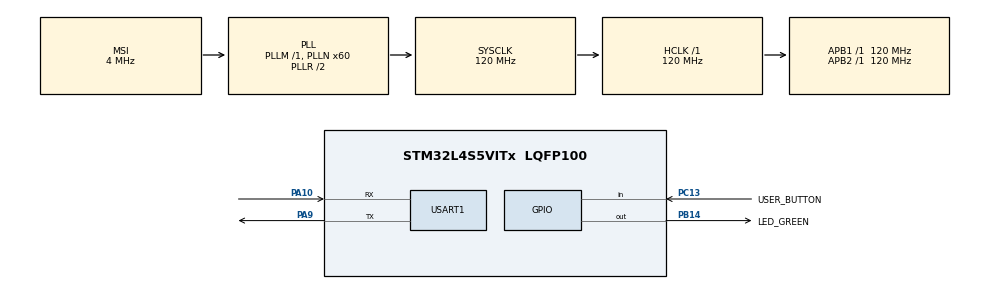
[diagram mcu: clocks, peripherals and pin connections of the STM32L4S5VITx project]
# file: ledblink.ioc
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ADC1.Channel-0\#ChannelRegularConversion=ADC_CHANNEL_VREFINT
ADC1.NbrOfConversionFlag=1
ADC1.OffsetNumber-0\#ChannelRegularConversion=ADC_OFFSET_NONE
ADC1.Rank-0\#ChannelRegularConversion=1
ADC1.SamplingTime-0\#ChannelRegularConversion=ADC_SAMPLETIME_2CYCLES_5
ADC1.master=1
Mcu.Family=STM32L4
Mcu.Name=STM32L4S5VITx
Mcu.Package=LQFP100
NVIC.PriorityGroup=NVIC_PRIORITYGROUP_4
PA10.Mode=Asynchronous
PA10.Signal=USART1_RX
PA9.Mode=Asynchronous
PA9.Signal=USART1_TX
PB14.GPIO_Label=LED_GREEN
PB14.Signal=GPIO_Output
PC13.GPIO_Label=USER_BUTTON
PC13.Signal=GPIO_Input
ProjectManager.HeapSize=0x200
ProjectManager.StackSize=0x400
ProjectManager.TargetToolchain=STM32CubeIDE
RCC.ADCFreq_Value=80000000
RCC.AHBFreq_Value=120000000
RCC.APB1Freq_Value=120000000
RCC.APB1TimFreq_Value=120000000
RCC.APB2Freq_Value=120000000
RCC.APB2TimFreq_Value=120000000
RCC.CortexFreq_Value=120000000
RCC.HCLKFreq_Value=120000000
RCC.HSE_VALUE=8000000
RCC.HSI48_VALUE=48000000
RCC.HSI_VALUE=16000000
RCC.LSE_VALUE=32768
RCC.MSI_VALUE=4000000
RCC.PLLN=60
RCC.PLLSAI1N=40
RCC.SYSCLKFreq_VALUE=120000000
RCC.SYSCLKSource=RCC_SYSCLKSOURCE_PLLCLK
RCC.USBFreq_Value=80000000
RCC.VCOOutputFreq_Value=240000000
TIM2.Period=2000
TIM2.Prescaler=60000
USART1.VirtualMode-Asynchronous=VM_ASYNC
VP_ADC1_Vref_Input.Mode=IN-Vrefint
VP_TIM2_VS_ClockSourceINT.Mode=Internal
board=B-L4S5I-IOT01A

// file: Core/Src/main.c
/* USER CODE BEGIN Header */
/**
 ******************************************************************************
 * @file           : main.c
 * @brief          : Main program body
 ******************************************************************************
 * @attention
 *
 * <h2><center>&copy; Copyright (c) 2021 STMicroelectronics.
 * All rights reserved.</center></h2>
 *
 * This software component is licensed by ST under BSD 3-Clause license,
 * the "License"; You may not use this file except in compliance with the
 * License. You may obtain a copy of the License at:
 *                        opensource.org/licenses/BSD-3-Clause
 *
 ******************************************************************************
 */
/* USER CODE END Header */
#include "main.h"

/* USER CODE BEGIN PTD */
#define ITM_Port32(n) (*((volatile unsigned long *) (0xE0000000+4*n)))
#define VREFINT_CAL_Addr 0x1FFF75AA // get the calibration voltage, AB gives same value as AA
#define VREFINT_CAL ((uint16_t*)VREFINT_CAL_Addr)
/* USER CODE END PTD */

ADC_HandleTypeDef hadc1;

TIM_HandleTypeDef htim2;

UART_HandleTypeDef huart1;

void SystemClock_Config(void);
static void MX_GPIO_Init(void);
static void MX_TIM2_Init(void);
static void MX_USART1_UART_Init(void);
static void MX_ADC1_Init(void);

int main(void) {

	/* MCU Configuration--------------------------------------------------------*/

	/* Reset of all peripherals, Initializes the Flash interface and the Systick. */
	HAL_Init();

	/* Configure the system clock */
	SystemClock_Config();

	/* Initialize all configured peripherals */
	MX_GPIO_Init();
	MX_TIM2_Init();
	MX_USART1_UART_Init();
	MX_ADC1_Init();
	//HAL_ADCEx_Calibration_Start(&hadc1, ADC_SINGLE_ENDED); //causes raw to half, vdda to double
	/* USER CODE BEGIN 2 */
	/* USER CODE BEGIN 2 */

	// start the timer and associated interrupt
	HAL_TIM_Base_Start_IT(&htim2);
	ITM_Port32(31) = 2;

	HAL_ADC_Start(&hadc1);
	HAL_ADC_PollForConversion(&hadc1, 1000);

	uint16_t raw = HAL_ADC_GetValue(&hadc1); //ADC is a 12bit value, uint12_t, though 16 bit int shouldnt be problem

	uint16_t test = *(uint16_t*)VREFINT_CAL_Addr;

	uint32_t vdda = 3000 * test / raw; // should be adc/reference, multiplication by 3000 not needed, check this
	//also tried ADC1->DR instead of raw

	/* USER CODE END 2 */

	/* Infinite loop */
	while (1) {

		/* USER CODE BEGIN 3 */
		// toggle led2 using blue user button
		if (HAL_GPIO_ReadPin(USER_BUTTON_GPIO_Port, USER_BUTTON_Pin) == 0) { // button is active low
			HAL_GPIO_TogglePin(LED_GREEN_GPIO_Port, LED_GREEN_Pin);
			HAL_Delay(500); // delay shouldnt be necessary
		}

	}
	/* USER CODE END 3 */
}

void SystemClock_Config(void) {
	RCC_OscInitTypeDef RCC_OscInitStruct = { 0 };
	RCC_ClkInitTypeDef RCC_ClkInitStruct = { 0 };
	RCC_PeriphCLKInitTypeDef PeriphClkInit = { 0 };

	/** Configure the main internal regulator output voltage
	 */
	if (HAL_PWREx_ControlVoltageScaling(PWR_REGULATOR_VOLTAGE_SCALE1_BOOST)
			!= HAL_OK) {
		Error_Handler();
	}
	/** Initializes the RCC Oscillators according to the specified parameters
	 * in the RCC_OscInitTypeDef structure.
	 */
	RCC_OscInitStruct.OscillatorType = RCC_OSCILLATORTYPE_MSI;
	RCC_OscInitStruct.MSIState = RCC_MSI_ON;
	RCC_OscInitStruct.MSICalibrationValue = 0;
	RCC_OscInitStruct.MSIClockRange = RCC_MSIRANGE_6;
	RCC_OscInitStruct.PLL.PLLState = RCC_PLL_ON;
	RCC_OscInitStruct.PLL.PLLSource = RCC_PLLSOURCE_MSI;
	RCC_OscInitStruct.PLL.PLLM = 1;
	RCC_OscInitStruct.PLL.PLLN = 60;
	RCC_OscInitStruct.PLL.PLLP = RCC_PLLP_DIV2;
	RCC_OscInitStruct.PLL.PLLQ = RCC_PLLQ_DIV2;
	RCC_OscInitStruct.PLL.PLLR = RCC_PLLR_DIV2;
	if (HAL_RCC_OscConfig(&RCC_OscInitStruct) != HAL_OK) {
		Error_Handler();
	}
	/** Initializes the CPU, AHB and APB buses clocks
	 */
	RCC_ClkInitStruct.ClockType = RCC_CLOCKTYPE_HCLK | RCC_CLOCKTYPE_SYSCLK
			| RCC_CLOCKTYPE_PCLK1 | RCC_CLOCKTYPE_PCLK2;
	RCC_ClkInitStruct.SYSCLKSource = RCC_SYSCLKSOURCE_PLLCLK;
	RCC_ClkInitStruct.AHBCLKDivider = RCC_SYSCLK_DIV1;
	RCC_ClkInitStruct.APB1CLKDivider = RCC_HCLK_DIV1;
	RCC_ClkInitStruct.APB2CLKDivider = RCC_HCLK_DIV1;

	if (HAL_RCC_ClockConfig(&RCC_ClkInitStruct, FLASH_LATENCY_5) != HAL_OK) {
		Error_Handler();
	}
	PeriphClkInit.PeriphClockSelection = RCC_PERIPHCLK_USART1
			| RCC_PERIPHCLK_ADC;
	PeriphClkInit.Usart1ClockSelection = RCC_USART1CLKSOURCE_PCLK2;
	PeriphClkInit.AdcClockSelection = RCC_ADCCLKSOURCE_PLLSAI1;
	PeriphClkInit.PLLSAI1.PLLSAI1Source = RCC_PLLSOURCE_MSI;
	PeriphClkInit.PLLSAI1.PLLSAI1M = 1;
	PeriphClkInit.PLLSAI1.PLLSAI1N = 40;
	PeriphClkInit.PLLSAI1.PLLSAI1P = RCC_PLLP_DIV2;
	PeriphClkInit.PLLSAI1.PLLSAI1Q = RCC_PLLQ_DIV2;
	PeriphClkInit.PLLSAI1.PLLSAI1R = RCC_PLLR_DIV2;
	PeriphClkInit.PLLSAI1.PLLSAI1ClockOut = RCC_PLLSAI1_ADC1CLK;
	if (HAL_RCCEx_PeriphCLKConfig(&PeriphClkInit) != HAL_OK) {
		Error_Handler();
	}
}

static void MX_ADC1_Init(void) {

	ADC_ChannelConfTypeDef sConfig = { 0 };

	/** Common config
	 */
	hadc1.Instance = ADC1;
	hadc1.Init.ClockPrescaler = ADC_CLOCK_ASYNC_DIV1;
	hadc1.Init.Resolution = ADC_RESOLUTION_12B;
	hadc1.Init.DataAlign = ADC_DATAALIGN_RIGHT;
	hadc1.Init.ScanConvMode = ADC_SCAN_DISABLE;
	hadc1.Init.EOCSelection = ADC_EOC_SINGLE_CONV;
	hadc1.Init.LowPowerAutoWait = DISABLE;
	hadc1.Init.ContinuousConvMode = DISABLE;
	hadc1.Init.NbrOfConversion = 1;
	hadc1.Init.DiscontinuousConvMode = DISABLE;
	hadc1.Init.ExternalTrigConv = ADC_SOFTWARE_START;
	hadc1.Init.ExternalTrigConvEdge = ADC_EXTERNALTRIGCONVEDGE_NONE;
	hadc1.Init.DMAContinuousRequests = DISABLE;
	hadc1.Init.Overrun = ADC_OVR_DATA_PRESERVED;
	hadc1.Init.OversamplingMode = DISABLE;
	if (HAL_ADC_Init(&hadc1) != HAL_OK) {
		Error_Handler();
	}
	/** Configure Regular Channel
	 */
	sConfig.Channel = ADC_CHANNEL_VREFINT;
	sConfig.Rank = ADC_REGULAR_RANK_1;
	sConfig.SamplingTime = ADC_SAMPLETIME_2CYCLES_5;
	sConfig.SingleDiff = ADC_SINGLE_ENDED;
	sConfig.OffsetNumber = ADC_OFFSET_NONE;
	sConfig.Offset = 0;
	if (HAL_ADC_ConfigChannel(&hadc1, &sConfig) != HAL_OK) {
		Error_Handler();
	}

}

static void MX_TIM2_Init(void) {

	TIM_ClockConfigTypeDef sClockSourceConfig = { 0 };
	TIM_MasterConfigTypeDef sMasterConfig = { 0 };

	htim2.Instance = TIM2;
	htim2.Init.Prescaler = 60000;
	htim2.Init.CounterMode = TIM_COUNTERMODE_UP;
	htim2.Init.Period = 2000;
	htim2.Init.ClockDivision = TIM_CLOCKDIVISION_DIV1;
	htim2.Init.AutoReloadPreload = TIM_AUTORELOAD_PRELOAD_DISABLE;
	if (HAL_TIM_Base_Init(&htim2) != HAL_OK) {
		Error_Handler();
	}
	sClockSourceConfig.ClockSource = TIM_CLOCKSOURCE_INTERNAL;
	if (HAL_TIM_ConfigClockSource(&htim2, &sClockSourceConfig) != HAL_OK) {
		Error_Handler();
	}
	sMasterConfig.MasterOutputTrigger = TIM_TRGO_RESET;
	sMasterConfig.MasterSlaveMode = TIM_MASTERSLAVEMODE_DISABLE;
	if (HAL_TIMEx_MasterConfigSynchronization(&htim2, &sMasterConfig)
			!= HAL_OK) {
		Error_Handler();
	}

}

static void MX_USART1_UART_Init(void) {

	huart1.Instance = USART1;
	huart1.Init.BaudRate = 115200;
	huart1.Init.WordLength = UART_WORDLENGTH_8B;
	huart1.Init.StopBits = UART_STOPBITS_1;
	huart1.Init.Parity = UART_PARITY_NONE;
	huart1.Init.Mode = UART_MODE_TX_RX;
	huart1.Init.HwFlowCtl = UART_HWCONTROL_NONE;
	huart1.Init.OverSampling = UART_OVERSAMPLING_16;
	huart1.Init.OneBitSampling = UART_ONE_BIT_SAMPLE_DISABLE;
	huart1.Init.ClockPrescaler = UART_PRESCALER_DIV1;
	huart1.AdvancedInit.AdvFeatureInit = UART_ADVFEATURE_NO_INIT;
	if (HAL_UART_Init(&huart1) != HAL_OK) {
		Error_Handler();
	}
	if (HAL_UARTEx_SetTxFifoThreshold(&huart1, UART_TXFIFO_THRESHOLD_1_8)
			!= HAL_OK) {
		Error_Handler();
	}
	if (HAL_UARTEx_SetRxFifoThreshold(&huart1, UART_RXFIFO_THRESHOLD_1_8)
			!= HAL_OK) {
		Error_Handler();
	}
	if (HAL_UARTEx_DisableFifoMode(&huart1) != HAL_OK) {
		Error_Handler();
	}

}

static void MX_GPIO_Init(void) {
	GPIO_InitTypeDef GPIO_InitStruct = { 0 };

	/* GPIO Ports Clock Enable */
	__HAL_RCC_GPIOC_CLK_ENABLE();
	__HAL_RCC_GPIOB_CLK_ENABLE();
	__HAL_RCC_GPIOA_CLK_ENABLE();

	/*Configure GPIO pin Output Level */
	HAL_GPIO_WritePin(LED_GREEN_GPIO_Port, LED_GREEN_Pin, GPIO_PIN_RESET);

	/*Configure GPIO pin : USER_BUTTON_Pin */
	GPIO_InitStruct.Pin = USER_BUTTON_Pin;
	GPIO_InitStruct.Mode = GPIO_MODE_INPUT;
	GPIO_InitStruct.Pull = GPIO_NOPULL;
	HAL_GPIO_Init(USER_BUTTON_GPIO_Port, &GPIO_InitStruct);

	/*Configure GPIO pin : LED_GREEN_Pin */
	GPIO_InitStruct.Pin = LED_GREEN_Pin;
	GPIO_InitStruct.Mode = GPIO_MODE_OUTPUT_PP;
	GPIO_InitStruct.Pull = GPIO_NOPULL;
	GPIO_InitStruct.Speed = GPIO_SPEED_FREQ_LOW;
	HAL_GPIO_Init(LED_GREEN_GPIO_Port, &GPIO_InitStruct);

}

/* USER CODE BEGIN 4 */
/**
 * @brief  Interrupt handler for TIM2; toggles LED.
 * @retval None
 */
void HAL_TIM_PeriodElapsedCallback(TIM_HandleTypeDef *htim) {
	HAL_GPIO_TogglePin(LED_GREEN_GPIO_Port, LED_GREEN_Pin); // toggles -- LD2
}

/* USER CODE END 4 */

void Error_Handler(void) {
}

/************************ (C) COPYRIGHT STMicroelectronics *****END OF FILE****/
